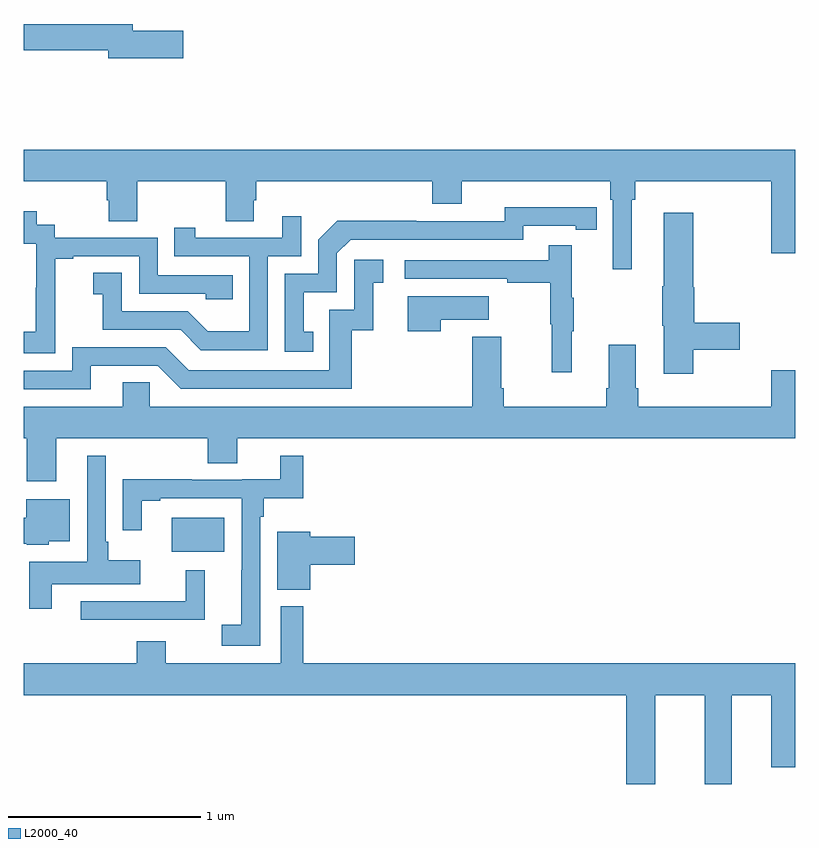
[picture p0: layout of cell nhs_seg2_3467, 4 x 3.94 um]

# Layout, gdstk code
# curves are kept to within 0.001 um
import gdstk
lib = gdstk.Library(unit=1e-6, precision=1e-09)
def R(c, l, rs):  # rectangles x0, y0, x1, y1
    for r in rs: c.add(gdstk.rectangle(r[:2], r[2:], *l))
def P(c, l, *ps):  # polygons
    for p in ps: c.add(gdstk.Polygon(p, *l))
L2000_40 = (2000, 40)

nhs_seg2_3467 = lib.new_cell('nhs_seg2_3467')
R(nhs_seg2_3467, L2000_40, [(293.768,635.06,294.04,635.236)])
P(nhs_seg2_3467, L2000_40, [(293.827,637.76),(293.566,637.76),(293.566,637.796),(293,637.796),(293,637.66),(293.438,637.66),(293.438,637.618),(293.827,637.618)],
  [(296.152,636.884),(296.171,636.884),(296.171,636.98),(296.876,636.98),(296.876,636.606),(297,636.606),(297,637.144),(293,637.144),(293,636.98),(293.429,636.98),(293.429,636.882),(293.441,636.882),(293.441,636.772),(293.589,636.772),(293.589,636.98),(294.046,636.98),(294.046,636.772),(294.193,636.772),(294.193,636.882),(294.206,636.882),(294.206,636.98),(295.118,636.98),(295.118,636.863),(295.27,636.863),(295.27,636.98),(296.042,636.98),(296.042,636.884),(296.055,636.884),(296.055,636.525),(296.152,636.525)],
  [(294.5,636.201),(294.451,636.201),(294.451,636.405),(294.624,636.405),(294.624,636.606),(294.696,636.678),(295.59,636.678),(295.59,636.75),(295.862,636.75),(295.862,636.73),(295.97,636.73),(295.97,636.846),(295.494,636.847),(295.494,636.774),(295.034,636.774),(295.034,636.776),(294.626,636.776),(294.528,636.678),(294.528,636.501),(294.354,636.501),(294.354,636.096),(294.5,636.096)],
  [(293.163,636.295),(293.162,636.295),(293.162,636.579),(293.257,636.579),(293.257,636.591),(293.598,636.591),(293.598,636.396),(293.943,636.396),(293.943,636.369),(294.083,636.369),(294.083,636.492),(293.694,636.492),(293.694,636.687),(293.16,636.687),(293.16,636.756),(293.068,636.756),(293.068,636.826),(293,636.826),(293,636.657),(293.064,636.657),(293.064,636.428),(293.063,636.428),(293.063,636.199),(293,636.199),(293,636.089),(293.163,636.089)],
  [(296.472,636.106),(296.713,636.106),(296.713,636.248),(296.477,636.248),(296.477,636.431),(296.472,636.431),(296.472,636.817),(296.318,636.817),(296.318,636.437),(296.311,636.437),(296.311,636.231),(296.318,636.231),(296.318,635.982),(296.472,635.982)],
  [(294.264,636.591),(294.438,636.591),(294.438,636.799),(294.341,636.799),(294.341,636.687),(293.89,636.687),(293.89,636.739),(293.779,636.739),(293.779,636.591),(294.168,636.591),(294.168,636.202),(293.954,636.202),(293.85,636.306),(293.508,636.306),(293.508,636.505),(293.361,636.505),(293.361,636.395),(293.41,636.395),(293.41,636.21),(293.813,636.21),(293.918,636.105),(294.264,636.105)],
  [(295.841,636.203),(295.852,636.203),(295.852,636.377),(295.841,636.377),(295.841,636.649),(295.723,636.649),(295.723,636.57),(294.975,636.57),(294.975,636.474),(295.507,636.474),(295.507,636.454),(295.731,636.454),(295.731,636.24),(295.738,636.24),(295.738,635.991),(295.841,635.991)],
  [(293.347,636.024),(293.694,636.024),(293.814,635.904),(294.701,635.904),(294.701,636.207),(294.812,636.207),(294.812,636.453),(294.865,636.453),(294.865,636.574),(294.714,636.574),(294.714,636.315),(294.585,636.315),(294.585,636),(293.856,636),(293.736,636.12),(293.25,636.12),(293.25,635.997),(293,635.997),(293,635.901),(293.347,635.901)],
  [(295.163,636.263),(295.411,636.263),(295.411,636.385),(294.992,636.385),(294.992,636.204),(295.163,636.204)],
  [(293.167,635.648),(293.954,635.648),(293.954,635.518),(294.106,635.518),(294.106,635.648),(297,635.648),(297,636.001),(296.876,636.001),(296.876,635.812),(296.186,635.812),(296.186,635.908),(296.173,635.908),(296.173,636.133),(296.033,636.133),(296.033,635.908),(296.021,635.908),(296.021,635.812),(295.49,635.812),(295.49,635.908),(295.477,635.908),(295.477,636.175),(295.325,636.175),(295.325,635.812),(293.652,635.812),(293.652,635.939),(293.513,635.939),(293.513,635.812),(293,635.812),(293,635.648),(293.015,635.648),(293.015,635.424),(293.167,635.424)],
  [(294.225,635.24),(294.245,635.24),(294.245,635.336),(294.449,635.336),(294.449,635.557),(294.331,635.557),(294.331,635.435),(294.132,635.435),(294.132,635.433),(293.87,635.433),(293.87,635.435),(293.514,635.435),(293.514,635.172),(293.611,635.172),(293.611,635.325),(293.707,635.325),(293.707,635.337),(294.129,635.337),(294.129,634.964),(294.128,634.964),(294.128,634.681),(294.027,634.681),(294.027,634.572),(294.225,634.572)],
  [(293.146,634.892),(293.605,634.892),(293.605,635.014),(293.437,635.014),(293.437,635.11),(293.424,635.11),(293.424,635.557),(293.328,635.557),(293.328,635.008),(293.029,635.008),(293.029,634.764),(293.146,634.764)],
  [(293.13,635.114),(293.239,635.114),(293.239,635.332),(293.012,635.332),(293.012,635.236),(293,635.236),(293,635.102),(293.016,635.102),(293.016,635.096),(293.13,635.096)],
  [(294.485,634.991),(294.715,634.991),(294.715,635.138),(294.485,635.138),(294.485,635.164),(294.314,635.164),(294.314,634.861),(294.485,634.861)],
  [(293.939,634.963),(293.839,634.963),(293.839,634.803),(293.295,634.803),(293.295,634.707),(293.939,634.707)],
  [(296.123,633.855),(296.275,633.855),(296.275,634.316),(296.531,634.316),(296.531,633.855),(296.671,633.855),(296.671,634.316),(296.876,634.316),(296.876,633.942),(297,633.942),(297,634.48),(294.449,634.48),(294.449,634.776),(294.333,634.776),(294.333,634.48),(293.737,634.48),(293.737,634.594),(293.585,634.594),(293.585,634.48),(293,634.48),(293,634.316),(296.123,634.316)])

lib.write_gds('nhs_seg2_3467.gds')
